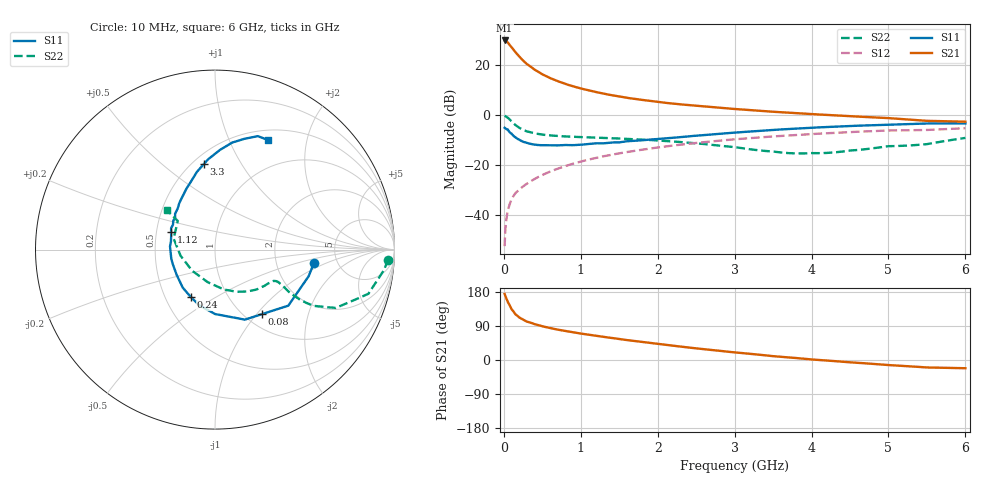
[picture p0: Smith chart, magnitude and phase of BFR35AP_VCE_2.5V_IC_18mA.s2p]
! Infineon Technologies  Discrete & RF Semiconductors
! BFR35AP
! VCE =  2.5 V,  IC =  18 mA
! Common Emitter S-Parameters:  Nov 2015
# GHz  S  MA  R  50
!  f  S11  S21  S12  S22
! GHz  MAG  ANG  MAG  ANG  MAG  ANG  MAG  ANG
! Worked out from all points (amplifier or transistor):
!   210 points, 10 MHz to 6 GHz, reference 50 ohm
!   highest |S21| = 29.8 dB at 10 MHz (marker M1)
!   |S21| within 3 dB of that: start of sweep to 108.6 MHz
!   unconditionally stable (mu >= 1): 391.2 MHz to 3.443 GHz
!   at 185 MHz: K = 0.73, MSG = 27.0 dB, |S12| = -30.2 dB
!   at 1.52 GHz: K = 1.12, MAG = 9.2 dB, |S12| = -15.2 dB
!   at 6 GHz: K = 0.97, MSG = 1.3 dB, |S12| = -5.3 dB
!   S11 on the Smith chart (normalised r, x): 10 MHz: 3.32, -0.74; 80 MHz: 1.19, -1.07; 240 MHz: 0.67, -0.39; 1.12 GHz: 0.60, +0.13; 3.3 GHz: 0.57, +0.70; 6 GHz: 0.62, +1.40
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0.01  0.5556 -8.0  30.77 174.2  0.0024 85.1  0.9658 -3.3
0.02  0.5424 -15.9  30.37 168.5  0.0053 82.6  0.949 -6.8
0.05  0.5141 -37.4  28.15 153.4  0.0121 75.8  0.8892 -16.1
0.08  0.4452 -53.8  24.52 142.8  0.0172 71.0  0.8009 -21.5
0.1  0.4242 -66.9  22.67 134.1  0.0207 69.1  0.7467 -25.8
0.15  0.3591 -89.9  17.95 120.7  0.0275 64.8  0.6305 -29.8
0.2  0.3221 -106.0  14.64 112.3  0.0322 64.2  0.5558 -30.6
0.24  0.297 -116.5  12.65 107.4  0.0364 65.1  0.5148 -30.3
0.3  0.2776 -130.4  10.39 101.3  0.0425 66.4  0.4704 -29.7
0.4  0.2559 -146.6  8.037 94.6  0.0528 67.8  0.4292 -28.2
0.5  0.2492 -159.6  6.49 88.8  0.0633 68.6  0.4045 -27.4
0.7  0.2474 -176.8  4.737 80.1  0.0845 69.1  0.3812 -27.4
0.8  0.2514 175.9  4.16 76.4  0.0955 68.4  0.3728 -27.8
1.02  0.2563 162.4  3.329 69.2  0.1194 67.3  0.361 -29.9
1.12  0.2646 157.7  3.058 66.2  0.1304 66.6  0.3558 -31.4
1.6  0.2989 138.1  2.202 52.6  0.1818 61.9  0.3324 -38.9
2.02  0.334 125.3  1.808 42.1  0.2263 57.0  0.3084 -47.7
3.1  0.4556 101.2  1.284 18.2  0.3357 43.2  0.2167 -81.4
3.3  0.4791 97.6  1.219 14.4  0.354 40.3  0.1981 -91.1
4.1  0.5661 85.7  1.022 0.1  0.424 29.6  0.1728 -144.1
5.1  0.6457 73.9  0.845 -14.5  0.492 15.5  0.2398 160.3
6  0.6783 64.2  0.735 -21.7  0.5441 5.2  0.3484 140.7
